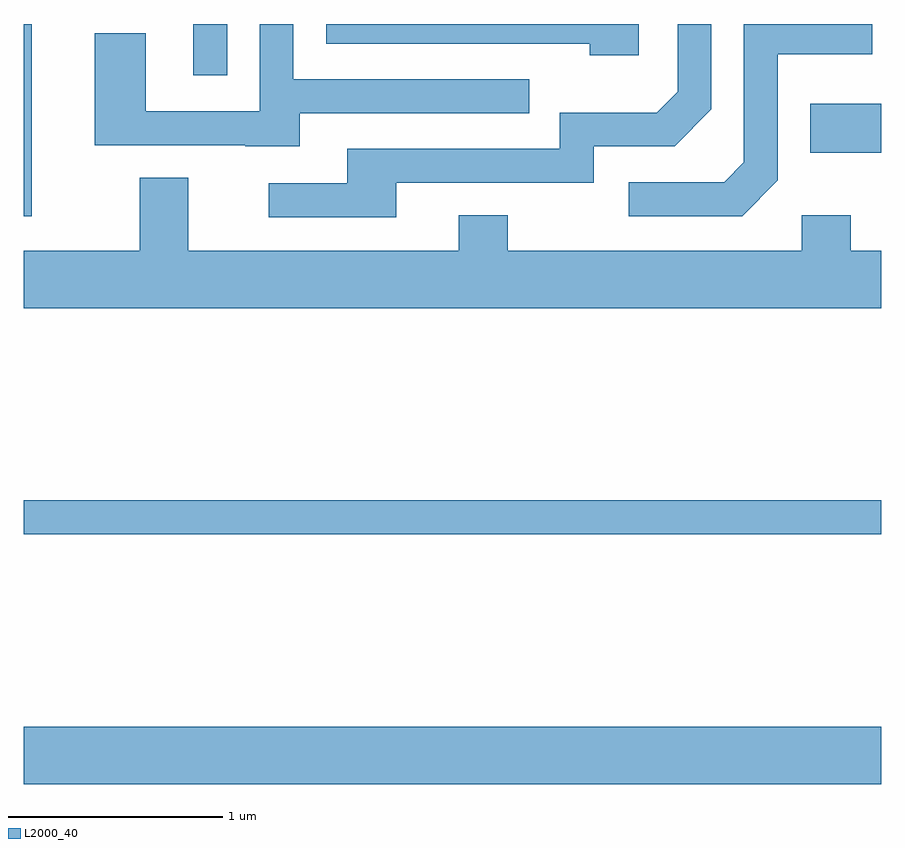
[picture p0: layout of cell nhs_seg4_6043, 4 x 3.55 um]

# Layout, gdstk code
import gdstk
lib = gdstk.Library(unit=1e-6, precision=1e-09)
def R(c, l, rs):  # rectangles x0, y0, x1, y1
    for r in rs: c.add(gdstk.rectangle(r[:2], r[2:], *l))
def P(c, l, *ps):  # polygons
    for p in ps: c.add(gdstk.Polygon(p, *l))
L2000_40 = (2000, 40)

nhs_seg4_6043 = lib.new_cell('nhs_seg4_6043')
R(nhs_seg4_6043, L2000_40, [(361.611,1372.436,365.611,1372.704), (361.611,1373.601,365.611,1373.759), (361.611,1375.086,361.649,1375.982), (365.281,1375.381,365.611,1375.609), (362.401,1375.743,362.559,1375.982)])
P(nhs_seg4_6043, L2000_40, [(362.899,1375.566),(363.968,1375.566),(363.968,1375.724),(362.869,1375.724),(362.869,1375.982),(362.711,1375.982),(362.711,1375.574),(362.179,1375.574),(362.179,1375.939),(361.941,1375.939),(361.941,1375.416),(362.645,1375.416),(362.645,1375.411),(362.899,1375.411)],
  [(363.349,1375.241),(364.269,1375.241),(364.269,1375.411),(364.647,1375.411),(364.819,1375.584),(364.819,1375.982),(364.661,1375.982),(364.661,1375.667),(364.564,1375.569),(364.111,1375.569),(364.111,1375.399),(363.121,1375.399),(363.121,1375.239),(362.753,1375.239),(362.753,1375.081),(363.349,1375.081)],
  [(365.129,1375.254),(365.129,1375.841),(365.569,1375.841),(365.569,1375.982),(364.971,1375.982),(364.971,1375.337),(364.879,1375.244),(364.433,1375.244),(364.433,1375.086),(364.962,1375.086)],
  [(364.479,1375.982),(363.021,1375.982),(363.021,1375.891),(364.251,1375.891),(364.251,1375.836),(364.479,1375.836)],
  [(365.611,1374.924),(365.469,1374.924),(365.469,1375.089),(365.241,1375.089),(365.241,1374.924),(363.869,1374.924),(363.869,1375.089),(363.641,1375.089),(363.641,1374.924),(362.379,1374.924),(362.379,1375.264),(362.151,1375.264),(362.151,1374.924),(361.611,1374.924),(361.611,1374.656),(365.611,1374.656)])

lib.write_gds('nhs_seg4_6043.gds')
